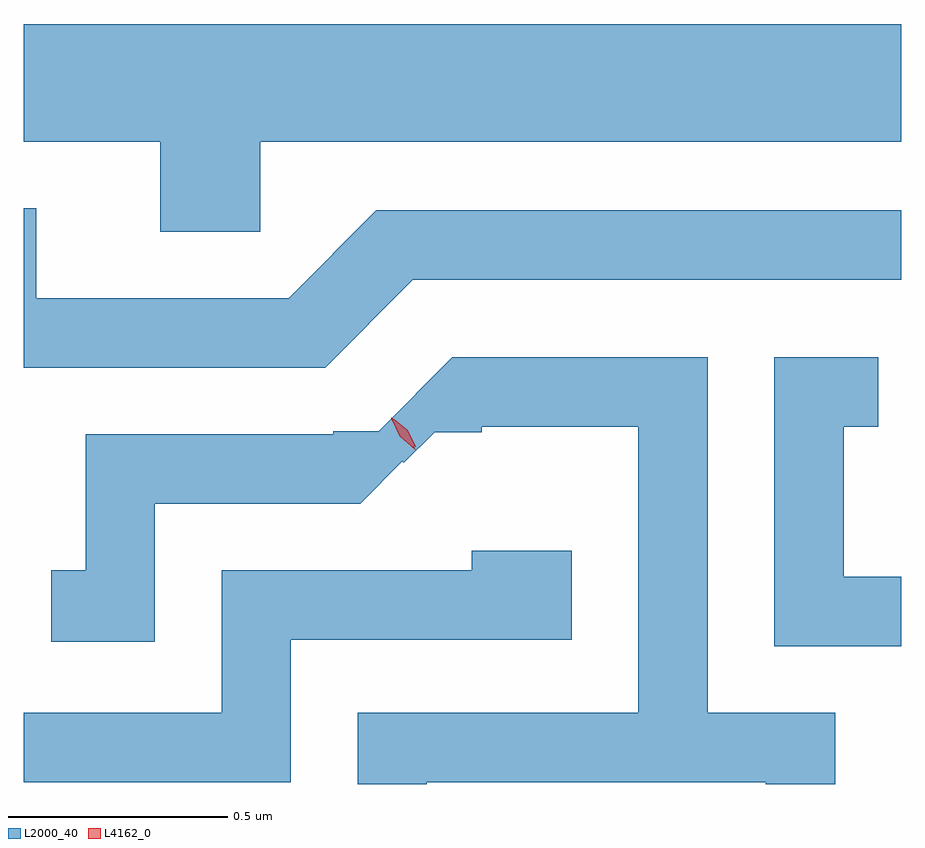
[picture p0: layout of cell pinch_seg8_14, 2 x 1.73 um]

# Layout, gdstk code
import gdstk
lib = gdstk.Library(unit=1e-6, precision=1e-09)
def P(c, l, *ps):  # polygons
    for p in ps: c.add(gdstk.Polygon(p, *l))
L2000_40 = (2000, 40)
L4162_0 = (4162, 0)

pinch_seg8_14 = lib.new_cell('pinch_seg8_14')
P(pinch_seg8_14, L2000_40, [(1069.209,1889.696),(1070.67,1889.696),(1070.67,1889.964),(1068.67,1889.964),(1068.67,1889.696),(1068.981,1889.696),(1068.981,1889.491),(1069.209,1889.491)],
  [(1069.557,1889.381),(1070.67,1889.381),(1070.67,1889.539),(1069.474,1889.539),(1069.274,1889.339),(1068.699,1889.339),(1068.699,1889.544),(1068.67,1889.544),(1068.67,1889.181),(1069.357,1889.181)],
  [(1070.67,1888.704),(1070.539,1888.704),(1070.539,1889.046),(1070.618,1889.046),(1070.618,1889.204),(1070.381,1889.204),(1070.381,1888.546),(1070.67,1888.546)],
  [(1069.589,1888.236),(1070.361,1888.236),(1070.361,1888.232),(1070.519,1888.232),(1070.519,1888.394),(1070.229,1888.394),(1070.229,1889.204),(1069.647,1889.204),(1069.479,1889.036),(1069.375,1889.036),(1069.375,1889.029),(1068.811,1889.029),(1068.811,1888.719),(1068.733,1888.719),(1068.733,1888.556),(1068.969,1888.556),(1068.969,1888.871),(1069.437,1888.871),(1069.533,1888.967),(1069.536,1888.964),(1069.607,1889.034),(1069.714,1889.034),(1069.714,1889.046),(1070.071,1889.046),(1070.071,1888.394),(1069.431,1888.394),(1069.431,1888.232),(1069.589,1888.232)],
  [(1069.279,1888.561),(1069.919,1888.561),(1069.919,1888.764),(1069.691,1888.764),(1069.691,1888.719),(1069.121,1888.719),(1069.121,1888.394),(1068.67,1888.394),(1068.67,1888.236),(1069.279,1888.236)])
P(pinch_seg8_14, L4162_0, [(1069.562,1888.994),(1069.527,1889.024),(1069.508,1889.066),(1069.508,1889.067),(1069.509,1889.067),(1069.543,1889.036),(1069.562,1888.994),(1069.562,1888.994)],
  [(1069.562,1889.001),(1069.53,1889.026),(1069.513,1889.062),(1069.513,1889.063),(1069.514,1889.063),(1069.545,1889.038),(1069.563,1889.002),(1069.563,1889.001)])

lib.write_gds('pinch_seg8_14.gds')
